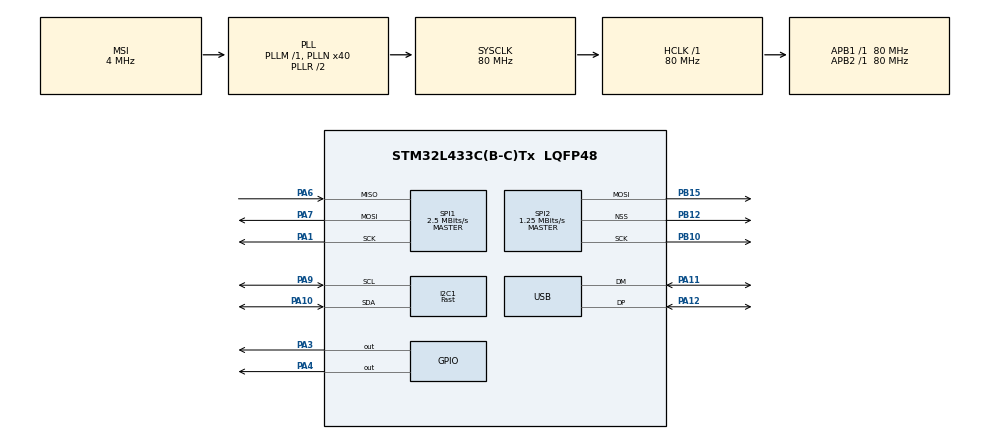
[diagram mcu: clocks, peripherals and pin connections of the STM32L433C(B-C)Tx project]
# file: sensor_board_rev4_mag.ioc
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Dma.Request0=SPI2_TX
Dma.SPI2_TX.0.Direction=DMA_MEMORY_TO_PERIPH
Dma.SPI2_TX.0.Instance=DMA1_Channel5
Dma.SPI2_TX.0.MemDataAlignment=DMA_MDATAALIGN_BYTE
Dma.SPI2_TX.0.MemInc=DMA_MINC_ENABLE
Dma.SPI2_TX.0.Mode=DMA_CIRCULAR
Dma.SPI2_TX.0.PeriphDataAlignment=DMA_PDATAALIGN_BYTE
Dma.SPI2_TX.0.PeriphInc=DMA_PINC_DISABLE
Dma.SPI2_TX.0.Priority=DMA_PRIORITY_VERY_HIGH
FREERTOS.Queues01=preprocess_queue_imu_2,32,imu_data_t,0,Static,myQueue01Buffer,myQueue01ControlBlock
FREERTOS.Tasks01=defaultTask,24,128,StartDefaultTask,Default,NULL,Dynamic,NULL,NULL;task_baro_read,24,512,vTaskBaroRead,As external,NULL,Static,task_baro_readBuffer,task_baro_readControlBlock;task_imu_read,24,512,vTaskImuRead,As external,NULL,Static,task_imu_readBuffer,task_imu_readControlBlock;task_send_to_mb,24,512,vTaskSendToMb,As external,NULL,Static,task_send_to_mbBuffer,task_send_to_mbControlBlock;task_preprocess,24,512,vTaskPreprocess,As external,NULL,Static,task_preprocessBuffer,task_preprocessControlBlock;task_mag_read,24,512,vTaskMagRead,As external,NULL,Static,task_mag_readBuffer,task_mag_readControlBlock
FREERTOS.configQUEUE_REGISTRY_SIZE=32
I2C1.I2C_Speed_Mode=I2C_Fast
I2C1.Timing=0x00702991
Mcu.Family=STM32L4
Mcu.Name=STM32L433C(B-C)Tx
Mcu.Package=LQFP48
NVIC.DMA1_Channel5_IRQn=true\:5\:0\:false\:false\:true\:true\:false\:true
NVIC.PriorityGroup=NVIC_PRIORITYGROUP_4
NVIC.SPI2_IRQn=true\:5\:0\:false\:false\:true\:true\:true\:true
NVIC.TIM1_UP_TIM16_IRQn=true\:0\:0\:false\:false\:true\:false\:false\:true
NVIC.TimeBase=TIM1_UP_TIM16_IRQn
NVIC.TimeBaseIP=TIM1
NVIC.USB_IRQn=true\:5\:0\:false\:false\:true\:true\:false\:true
PA1.Mode=Full_Duplex_Master
PA1.Signal=SPI1_SCK
PA10.Mode=I2C
PA10.Signal=I2C1_SDA
PA11.Mode=Device
PA11.Signal=USB_DM
PA12.Mode=Device
PA12.Signal=USB_DP
PA13\ (JTMS-SWDIO).Mode=Serial_Wire
PA13\ (JTMS-SWDIO).Signal=SYS_JTMS-SWDIO
PA14\ (JTCK-SWCLK).Mode=Serial_Wire
PA14\ (JTCK-SWCLK).Signal=SYS_JTCK-SWCLK
PA3.Signal=GPIO_Output
PA4.Signal=GPIO_Output
PA6.Mode=Full_Duplex_Master
PA6.Signal=SPI1_MISO
PA7.Mode=Full_Duplex_Master
PA7.Signal=SPI1_MOSI
PA9.Mode=I2C
PA9.Signal=I2C1_SCL
PB10.Mode=TX_Only_Simplex_Unidirect_Master
PB10.Signal=SPI2_SCK
PB12.Mode=NSS_Signal_Hard_Output
PB12.Signal=SPI2_NSS
PB15.Mode=TX_Only_Simplex_Unidirect_Master
PB15.Signal=SPI2_MOSI
PH0-OSC_IN\ (PH0).Mode=HSE-External-Oscillator
PH0-OSC_IN\ (PH0).Signal=RCC_OSC_IN
PH1-OSC_OUT\ (PH1).Mode=HSE-External-Oscillator
PH1-OSC_OUT\ (PH1).Signal=RCC_OSC_OUT
ProjectManager.HeapSize=0x200
ProjectManager.StackSize=0x400
ProjectManager.TargetToolchain=STM32CubeIDE
RCC.ADCFreq_Value=48000000
RCC.AHBFreq_Value=80000000
RCC.APB1Freq_Value=80000000
RCC.APB1TimFreq_Value=80000000
RCC.APB2Freq_Value=80000000
RCC.APB2TimFreq_Value=80000000
RCC.CortexFreq_Value=80000000
RCC.HCLKFreq_Value=80000000
RCC.HSE_VALUE=8000000
RCC.HSI48_VALUE=48000000
RCC.HSI_VALUE=16000000
RCC.LSE_VALUE=32768
RCC.MSI_VALUE=4000000
RCC.PLLN=40
RCC.PLLSAI1N=24
RCC.SYSCLKFreq_VALUE=80000000
RCC.SYSCLKSource=RCC_SYSCLKSOURCE_PLLCLK
RCC.USBFreq_Value=48000000
RCC.VCOOutputFreq_Value=160000000
SPI1.BaudRatePrescaler=SPI_BAUDRATEPRESCALER_32
SPI1.CalculateBaudRate=2.5 MBits/s
SPI1.DataSize=SPI_DATASIZE_8BIT
SPI1.Direction=SPI_DIRECTION_2LINES
SPI1.FirstBit=SPI_FIRSTBIT_MSB
SPI1.Mode=SPI_MODE_MASTER
SPI1.VirtualType=VM_MASTER
SPI2.BaudRatePrescaler=SPI_BAUDRATEPRESCALER_64
SPI2.CLKPhase=SPI_PHASE_1EDGE
SPI2.CLKPolarity=SPI_POLARITY_LOW
SPI2.CalculateBaudRate=1.25 MBits/s
SPI2.DataSize=SPI_DATASIZE_8BIT
SPI2.Direction=SPI_DIRECTION_2LINES
SPI2.Mode=SPI_MODE_MASTER
SPI2.NSSPMode=SPI_NSS_PULSE_DISABLE
SPI2.VirtualNSS=VM_NSSHARD
SPI2.VirtualType=VM_MASTER
USB_DEVICE.CLASS_NAME_FS=CDC
USB_DEVICE.VirtualMode=Cdc
USB_DEVICE.VirtualModeFS=Cdc_FS
VP_FREERTOS_VS_CMSIS_V2.Mode=CMSIS_V2
VP_SYS_VS_tim1.Mode=TIM1
VP_USB_DEVICE_VS_USB_DEVICE_CDC_FS.Mode=CDC_FS
board=custom

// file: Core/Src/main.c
/* USER CODE BEGIN Header */
/**
  ******************************************************************************
  * @file           : main.c
  * @brief          : Main program body
  ******************************************************************************
  * @attention
  *
  * <h2><center>&copy; Copyright (c) 2019 STMicroelectronics.
  * All rights reserved.</center></h2>
  *
  * This software component is licensed by ST under BSD 3-Clause license,
  * the "License"; You may not use this file except in compliance with the
  * License. You may obtain a copy of the License at:
  *                        opensource.org/licenses/BSD-3-Clause
  *
  ******************************************************************************
  */
/* USER CODE END Header */

#include "main.h"
#include "cmsis_os.h"
#include "usb_device.h"

/* USER CODE BEGIN Includes */
#include "tasks/task_baro_read.h"
#include "tasks/task_imu_read.h"
#include "tasks/task_send_to_mb.h"
#include "tasks/task_preprocess.h"
#include "util.h"
/* USER CODE END Includes */

typedef StaticTask_t osStaticThreadDef_t;
typedef StaticQueue_t osStaticMessageQDef_t;

I2C_HandleTypeDef hi2c1;

SPI_HandleTypeDef hspi1;
SPI_HandleTypeDef hspi2;
DMA_HandleTypeDef hdma_spi2_tx;

/* Definitions for defaultTask */
osThreadId_t defaultTaskHandle;
const osThreadAttr_t defaultTask_attributes = {
  .name = "defaultTask",
  .priority = (osPriority_t) osPriorityNormal,
  .stack_size = 128 * 4
};
/* Definitions for task_baro_read */
osThreadId_t task_baro_readHandle;
uint32_t task_baro_readBuffer[ 512 ];
osStaticThreadDef_t task_baro_readControlBlock;
const osThreadAttr_t task_baro_read_attributes = {
  .name = "task_baro_read",
  .stack_mem = &task_baro_readBuffer[0],
  .stack_size = sizeof(task_baro_readBuffer),
  .cb_mem = &task_baro_readControlBlock,
  .cb_size = sizeof(task_baro_readControlBlock),
  .priority = (osPriority_t) osPriorityNormal,
};
/* Definitions for task_imu_read */
osThreadId_t task_imu_readHandle;
uint32_t task_imu_readBuffer[ 512 ];
osStaticThreadDef_t task_imu_readControlBlock;
const osThreadAttr_t task_imu_read_attributes = {
  .name = "task_imu_read",
  .stack_mem = &task_imu_readBuffer[0],
  .stack_size = sizeof(task_imu_readBuffer),
  .cb_mem = &task_imu_readControlBlock,
  .cb_size = sizeof(task_imu_readControlBlock),
  .priority = (osPriority_t) osPriorityNormal,
};
/* Definitions for task_send_to_mb */
osThreadId_t task_send_to_mbHandle;
uint32_t task_send_to_mbBuffer[ 512 ];
osStaticThreadDef_t task_send_to_mbControlBlock;
const osThreadAttr_t task_send_to_mb_attributes = {
  .name = "task_send_to_mb",
  .stack_mem = &task_send_to_mbBuffer[0],
  .stack_size = sizeof(task_send_to_mbBuffer),
  .cb_mem = &task_send_to_mbControlBlock,
  .cb_size = sizeof(task_send_to_mbControlBlock),
  .priority = (osPriority_t) osPriorityNormal,
};
/* Definitions for task_preprocess */
osThreadId_t task_preprocessHandle;
uint32_t task_preprocessBuffer[ 512 ];
osStaticThreadDef_t task_preprocessControlBlock;
const osThreadAttr_t task_preprocess_attributes = {
  .name = "task_preprocess",
  .stack_mem = &task_preprocessBuffer[0],
  .stack_size = sizeof(task_preprocessBuffer),
  .cb_mem = &task_preprocessControlBlock,
  .cb_size = sizeof(task_preprocessControlBlock),
  .priority = (osPriority_t) osPriorityNormal,
};
/* Definitions for task_mag_read */
osThreadId_t task_mag_readHandle;
uint32_t task_mag_readBuffer[ 512 ];
osStaticThreadDef_t task_mag_readControlBlock;
const osThreadAttr_t task_mag_read_attributes = {
  .name = "task_mag_read",
  .stack_mem = &task_mag_readBuffer[0],
  .stack_size = sizeof(task_mag_readBuffer),
  .cb_mem = &task_mag_readControlBlock,
  .cb_size = sizeof(task_mag_readControlBlock),
  .priority = (osPriority_t) osPriorityNormal,
};
/* Definitions for preprocess_queue_imu_2 */
osMessageQueueId_t preprocess_queue_imu_2Handle;
uint8_t myQueue01Buffer[ 32 * sizeof( imu_data_t ) ];
osStaticMessageQDef_t myQueue01ControlBlock;
const osMessageQueueAttr_t preprocess_queue_imu_2_attributes = {
  .name = "preprocess_queue_imu_2",
  .cb_mem = &myQueue01ControlBlock,
  .cb_size = sizeof(myQueue01ControlBlock),
  .mq_mem = &myQueue01Buffer,
  .mq_size = sizeof(myQueue01Buffer)
};
/* USER CODE BEGIN PV */
osMessageQueueId_t preprocess_queue_imu_1;
/* Baro Stuff */
osMutexId_t baro_mutex;
baro_data_t baro_data_to_mb;
/* IMU Stuff */
osMutexId_t imu_mutex_1;
osMutexId_t imu_mutex_2;
imu_data_t imu_data_1_to_mb;
imu_data_t imu_data_2_to_mb;
/* Magnetometer Stuff */
osMutexId_t magno_mutex;
mag_data_t magno_data_to_mb;
/* Fake USB Data insert */
//osMessageQueueId_t usb_data_queue;
osMutexId_t usb_data_mutex;
uint8_t usb_data_buffer[64] = {[0 ... 63] = 48};
/* USER CODE END PV */

void SystemClock_Config(void);
static void MX_GPIO_Init(void);
static void MX_DMA_Init(void);
static void MX_I2C1_Init(void);
static void MX_SPI1_Init(void);
static void MX_SPI2_Init(void);
void StartDefaultTask(void *argument);
extern void vTaskBaroRead(void *argument);
extern void vTaskImuRead(void *argument);
extern void vTaskSendToMb(void *argument);
extern void vTaskPreprocess(void *argument);
extern void vTaskMagRead(void *argument);

int main(void)
{

  /* MCU Configuration--------------------------------------------------------*/

  /* Reset of all peripherals, Initializes the Flash interface and the Systick. */
  HAL_Init();

  /* USER CODE BEGIN Init */
  MX_USB_DEVICE_Init();

  /* USER CODE END Init */

  /* Configure the system clock */
  SystemClock_Config();

  /* Initialize all configured peripherals */
  MX_GPIO_Init();
  MX_DMA_Init();
  MX_I2C1_Init();
  MX_SPI1_Init();
  MX_SPI2_Init();

  /* Init scheduler */
  osKernelInitialize();

  /* USER CODE BEGIN RTOS_MUTEX */

  /* Barometer Mutex */
  const osMutexAttr_t baro_mutex_attr = {
    "baro_mutex",                          // human readable mutex name
    osMutexPrioInherit,    // attr_bits
    NULL,                                     // memory for control block
    0U                                        // size for control block
  };

  baro_mutex = osMutexNew(&baro_mutex_attr);

  /* IMU Mutex */
  const osMutexAttr_t imu_1_mutex_attr = {
    "imu_mutex_1",                          // human readable mutex name
    osMutexPrioInherit,    // attr_bits
    NULL,                                     // memory for control block
    0U                                        // size for control block
  };
  imu_mutex_1 = osMutexNew(&imu_1_mutex_attr);

  const osMutexAttr_t imu_2_mutex_attr = {
    "imu_mutex_2",                          // human readable mutex name
    osMutexPrioInherit,    // attr_bits
    NULL,                                     // memory for control block
    0U                                        // size for control block
  };
  imu_mutex_2 = osMutexNew(&imu_2_mutex_attr);

  const osMutexAttr_t magno_mutex_attr = {
    "magno_mutex",                          // human readable mutex name
    osMutexPrioInherit,    // attr_bits
    NULL,                                     // memory for control block
    0U                                        // size for control block
  };
  magno_mutex = osMutexNew(&magno_mutex_attr);

#ifdef DEBUG
  const osMutexAttr_t print_mutex_attr = {
	  "print_mutex",                            // human readable mutex name
	  osMutexPrioInherit,    					  // attr_bits
	  NULL,                                     // memory for control block
	  0U                                        // size for control block
	};

  print_mutex = osMutexNew(&print_mutex_attr);
#endif
  /* USER CODE END RTOS_MUTEX */

  /* Create the queue(s) */
  /* creation of preprocess_queue_imu_2 */
  preprocess_queue_imu_2Handle = osMessageQueueNew (32, sizeof(imu_data_t), &preprocess_queue_imu_2_attributes);

  /* USER CODE BEGIN RTOS_QUEUES */
  /* add queues, ... */
  preprocess_queue_imu_1 = osMessageQueueNew(1*PREPROCESS_QUEUE_SIZE, sizeof(imu_data_t), NULL);
  /* USER CODE END RTOS_QUEUES */

  /* Create the thread(s) */
  /* creation of defaultTask */
  defaultTaskHandle = osThreadNew(StartDefaultTask, NULL, &defaultTask_attributes);

  /* creation of task_baro_read */
  task_baro_readHandle = osThreadNew(vTaskBaroRead, NULL, &task_baro_read_attributes);

  /* creation of task_imu_read */
  task_imu_readHandle = osThreadNew(vTaskImuRead, NULL, &task_imu_read_attributes);

  /* creation of task_send_to_mb */
  task_send_to_mbHandle = osThreadNew(vTaskSendToMb, NULL, &task_send_to_mb_attributes);

  /* creation of task_preprocess */
  task_preprocessHandle = osThreadNew(vTaskPreprocess, NULL, &task_preprocess_attributes);

  /* creation of task_mag_read */
  task_mag_readHandle = osThreadNew(vTaskMagRead, NULL, &task_mag_read_attributes);

  /* Start scheduler */
  osKernelStart();

  /* We should never get here as control is now taken by the scheduler */
  /* Infinite loop */
  while (1)
  {

  }
}

void SystemClock_Config(void)
{
  RCC_OscInitTypeDef RCC_OscInitStruct = {0};
  RCC_ClkInitTypeDef RCC_ClkInitStruct = {0};
  RCC_PeriphCLKInitTypeDef PeriphClkInit = {0};

  /** Initializes the CPU, AHB and APB busses clocks
  */
  RCC_OscInitStruct.OscillatorType = RCC_OSCILLATORTYPE_MSI;
  RCC_OscInitStruct.MSIState = RCC_MSI_ON;
  RCC_OscInitStruct.MSICalibrationValue = 0;
  RCC_OscInitStruct.MSIClockRange = RCC_MSIRANGE_6;
  RCC_OscInitStruct.PLL.PLLState = RCC_PLL_ON;
  RCC_OscInitStruct.PLL.PLLSource = RCC_PLLSOURCE_MSI;
  RCC_OscInitStruct.PLL.PLLM = 1;
  RCC_OscInitStruct.PLL.PLLN = 40;
  RCC_OscInitStruct.PLL.PLLP = RCC_PLLP_DIV7;
  RCC_OscInitStruct.PLL.PLLQ = RCC_PLLQ_DIV2;
  RCC_OscInitStruct.PLL.PLLR = RCC_PLLR_DIV2;
  if (HAL_RCC_OscConfig(&RCC_OscInitStruct) != HAL_OK)
  {
    Error_Handler();
  }
  /** Initializes the CPU, AHB and APB busses clocks
  */
  RCC_ClkInitStruct.ClockType = RCC_CLOCKTYPE_HCLK|RCC_CLOCKTYPE_SYSCLK
                              |RCC_CLOCKTYPE_PCLK1|RCC_CLOCKTYPE_PCLK2;
  RCC_ClkInitStruct.SYSCLKSource = RCC_SYSCLKSOURCE_PLLCLK;
  RCC_ClkInitStruct.AHBCLKDivider = RCC_SYSCLK_DIV1;
  RCC_ClkInitStruct.APB1CLKDivider = RCC_HCLK_DIV1;
  RCC_ClkInitStruct.APB2CLKDivider = RCC_HCLK_DIV1;

  if (HAL_RCC_ClockConfig(&RCC_ClkInitStruct, FLASH_LATENCY_4) != HAL_OK)
  {
    Error_Handler();
  }
  PeriphClkInit.PeriphClockSelection = RCC_PERIPHCLK_I2C1|RCC_PERIPHCLK_USB;
  PeriphClkInit.I2c1ClockSelection = RCC_I2C1CLKSOURCE_PCLK1;
  PeriphClkInit.UsbClockSelection = RCC_USBCLKSOURCE_PLLSAI1;
  PeriphClkInit.PLLSAI1.PLLSAI1Source = RCC_PLLSOURCE_MSI;
  PeriphClkInit.PLLSAI1.PLLSAI1M = 1;
  PeriphClkInit.PLLSAI1.PLLSAI1N = 24;
  PeriphClkInit.PLLSAI1.PLLSAI1P = RCC_PLLP_DIV7;
  PeriphClkInit.PLLSAI1.PLLSAI1Q = RCC_PLLQ_DIV2;
  PeriphClkInit.PLLSAI1.PLLSAI1R = RCC_PLLR_DIV2;
  PeriphClkInit.PLLSAI1.PLLSAI1ClockOut = RCC_PLLSAI1_48M2CLK;
  if (HAL_RCCEx_PeriphCLKConfig(&PeriphClkInit) != HAL_OK)
  {
    Error_Handler();
  }
  /** Configure the main internal regulator output voltage
  */
  if (HAL_PWREx_ControlVoltageScaling(PWR_REGULATOR_VOLTAGE_SCALE1) != HAL_OK)
  {
    Error_Handler();
  }
}

static void MX_I2C1_Init(void)
{

  hi2c1.Instance = I2C1;
  hi2c1.Init.Timing = 0x00702991;
  hi2c1.Init.OwnAddress1 = 0;
  hi2c1.Init.AddressingMode = I2C_ADDRESSINGMODE_7BIT;
  hi2c1.Init.DualAddressMode = I2C_DUALADDRESS_DISABLE;
  hi2c1.Init.OwnAddress2 = 0;
  hi2c1.Init.OwnAddress2Masks = I2C_OA2_NOMASK;
  hi2c1.Init.GeneralCallMode = I2C_GENERALCALL_DISABLE;
  hi2c1.Init.NoStretchMode = I2C_NOSTRETCH_DISABLE;
  if (HAL_I2C_Init(&hi2c1) != HAL_OK)
  {
    Error_Handler();
  }
  /** Configure Analogue filter
  */
  if (HAL_I2CEx_ConfigAnalogFilter(&hi2c1, I2C_ANALOGFILTER_ENABLE) != HAL_OK)
  {
    Error_Handler();
  }
  /** Configure Digital filter
  */
  if (HAL_I2CEx_ConfigDigitalFilter(&hi2c1, 0) != HAL_OK)
  {
    Error_Handler();
  }

}

static void MX_SPI1_Init(void)
{

  /* SPI1 parameter configuration*/
  hspi1.Instance = SPI1;
  hspi1.Init.Mode = SPI_MODE_MASTER;
  hspi1.Init.Direction = SPI_DIRECTION_2LINES;
  hspi1.Init.DataSize = SPI_DATASIZE_8BIT;
  hspi1.Init.CLKPolarity = SPI_POLARITY_LOW;
  hspi1.Init.CLKPhase = SPI_PHASE_1EDGE;
  hspi1.Init.NSS = SPI_NSS_SOFT;
  hspi1.Init.BaudRatePrescaler = SPI_BAUDRATEPRESCALER_32;
  hspi1.Init.FirstBit = SPI_FIRSTBIT_MSB;
  hspi1.Init.TIMode = SPI_TIMODE_DISABLE;
  hspi1.Init.CRCCalculation = SPI_CRCCALCULATION_DISABLE;
  hspi1.Init.CRCPolynomial = 7;
  hspi1.Init.CRCLength = SPI_CRC_LENGTH_DATASIZE;
  hspi1.Init.NSSPMode = SPI_NSS_PULSE_ENABLE;
  if (HAL_SPI_Init(&hspi1) != HAL_OK)
  {
    Error_Handler();
  }

}

static void MX_SPI2_Init(void)
{

  /* SPI2 parameter configuration*/
  hspi2.Instance = SPI2;
  hspi2.Init.Mode = SPI_MODE_MASTER;
  hspi2.Init.Direction = SPI_DIRECTION_2LINES;
  hspi2.Init.DataSize = SPI_DATASIZE_8BIT;
  hspi2.Init.CLKPolarity = SPI_POLARITY_LOW;
  hspi2.Init.CLKPhase = SPI_PHASE_1EDGE;
  hspi2.Init.NSS = SPI_NSS_HARD_OUTPUT;
  hspi2.Init.BaudRatePrescaler = SPI_BAUDRATEPRESCALER_64;
  hspi2.Init.FirstBit = SPI_FIRSTBIT_MSB;
  hspi2.Init.TIMode = SPI_TIMODE_DISABLE;
  hspi2.Init.CRCCalculation = SPI_CRCCALCULATION_DISABLE;
  hspi2.Init.CRCPolynomial = 7;
  hspi2.Init.CRCLength = SPI_CRC_LENGTH_DATASIZE;
  hspi2.Init.NSSPMode = SPI_NSS_PULSE_DISABLE;
  if (HAL_SPI_Init(&hspi2) != HAL_OK)
  {
    Error_Handler();
  }

}

static void MX_DMA_Init(void)
{

  /* DMA controller clock enable */
  __HAL_RCC_DMA1_CLK_ENABLE();

  /* DMA interrupt init */
  /* DMA1_Channel5_IRQn interrupt configuration */
  HAL_NVIC_SetPriority(DMA1_Channel5_IRQn, 5, 0);
  HAL_NVIC_EnableIRQ(DMA1_Channel5_IRQn);

}

static void MX_GPIO_Init(void)
{
  GPIO_InitTypeDef GPIO_InitStruct = {0};

  /* GPIO Ports Clock Enable */
  __HAL_RCC_GPIOH_CLK_ENABLE();
  __HAL_RCC_GPIOA_CLK_ENABLE();
  __HAL_RCC_GPIOB_CLK_ENABLE();

  /*Configure GPIO pin Output Level */
  HAL_GPIO_WritePin(GPIOA, GPIO_PIN_3|GPIO_PIN_4, GPIO_PIN_RESET);

  /*Configure GPIO pins : PA3 PA4 */
  GPIO_InitStruct.Pin = GPIO_PIN_3|GPIO_PIN_4;
  GPIO_InitStruct.Mode = GPIO_MODE_OUTPUT_PP;
  GPIO_InitStruct.Pull = GPIO_NOPULL;
  GPIO_InitStruct.Speed = GPIO_SPEED_FREQ_LOW;
  HAL_GPIO_Init(GPIOA, &GPIO_InitStruct);

}

void StartDefaultTask(void *argument)
{
  /* init code for USB_DEVICE */
  MX_USB_DEVICE_Init();
  for(;;)
  {
    osDelay(1);
  }
}

 /**
  * @brief  Period elapsed callback in non blocking mode
  * @note   This function is called  when TIM1 interrupt took place, inside
  * HAL_TIM_IRQHandler(). It makes a direct call to HAL_IncTick() to increment
  * a global variable "uwTick" used as application time base.
  * @param  htim : TIM handle
  * @retval None
  */
void HAL_TIM_PeriodElapsedCallback(TIM_HandleTypeDef *htim)
{
  if (htim->Instance == TIM1) {
    HAL_IncTick();
  }
}

void Error_Handler(void)
{
}

/************************ (C) COPYRIGHT STMicroelectronics *****END OF FILE****/
